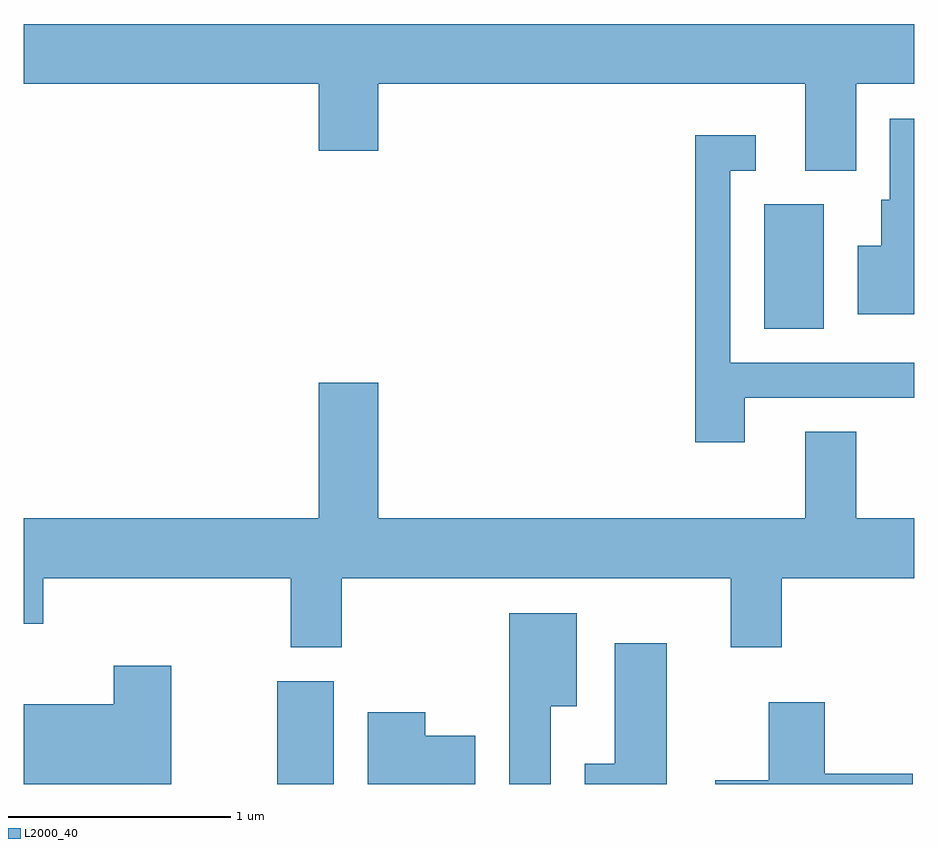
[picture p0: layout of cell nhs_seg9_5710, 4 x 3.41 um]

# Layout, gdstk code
import gdstk
lib = gdstk.Library(unit=1e-6, precision=1e-09)
def R(c, l, rs):  # rectangles x0, y0, x1, y1
    for r in rs: c.add(gdstk.rectangle(r[:2], r[2:], *l))
def P(c, l, *ps):  # polygons
    for p in ps: c.add(gdstk.Polygon(p, *l))
L2000_40 = (2000, 40)

nhs_seg9_5710 = lib.new_cell('nhs_seg9_5710')
R(nhs_seg9_5710, L2000_40, [(354.751,2006.432,355.004,2006.894), (356.936,2008.476,357.204,2009.034)])
P(nhs_seg9_5710, L2000_40, [(357.349,2009.576),(357.611,2009.576),(357.611,2009.844),(353.611,2009.844),(353.611,2009.576),(354.936,2009.576),(354.936,2009.276),(355.204,2009.276),(355.204,2009.576),(357.121,2009.576),(357.121,2009.186),(357.349,2009.186)],
  [(357.611,2009.419),(357.501,2009.419),(357.501,2009.054),(357.461,2009.054),(357.461,2008.849),(357.356,2008.849),(357.356,2008.541),(357.611,2008.541)],
  [(356.849,2008.166),(357.611,2008.166),(357.611,2008.324),(356.784,2008.324),(356.784,2009.186),(356.898,2009.186),(356.898,2009.344),(356.626,2009.344),(356.626,2007.966),(356.849,2007.966)],
  [(355.039,2007.356),(356.786,2007.356),(356.786,2007.046),(357.014,2007.046),(357.014,2007.356),(357.611,2007.356),(357.611,2007.624),(357.349,2007.624),(357.349,2008.014),(357.121,2008.014),(357.121,2007.624),(355.204,2007.624),(355.204,2008.234),(354.936,2008.234),(354.936,2007.624),(353.611,2007.624),(353.611,2007.151),(353.699,2007.151),(353.699,2007.356),(354.811,2007.356),(354.811,2007.046),(355.039,2007.046)],
  [(355.979,2006.781),(356.094,2006.781),(356.094,2007.199),(355.791,2007.199),(355.791,2006.432),(355.979,2006.432)],
  [(356.499,2007.064),(356.266,2007.064),(356.266,2006.524),(356.131,2006.524),(356.131,2006.432),(356.499,2006.432)],
  [(354.274,2006.964),(354.016,2006.964),(354.016,2006.789),(353.611,2006.789),(353.611,2006.432),(354.274,2006.432)],
  [(357.604,2006.479),(357.209,2006.479),(357.209,2006.799),(356.956,2006.799),(356.956,2006.449),(356.716,2006.449),(356.716,2006.432),(357.604,2006.432)],
  [(355.639,2006.649),(355.414,2006.649),(355.414,2006.754),(355.156,2006.754),(355.156,2006.432),(355.639,2006.432)])

lib.write_gds('nhs_seg9_5710.gds')
